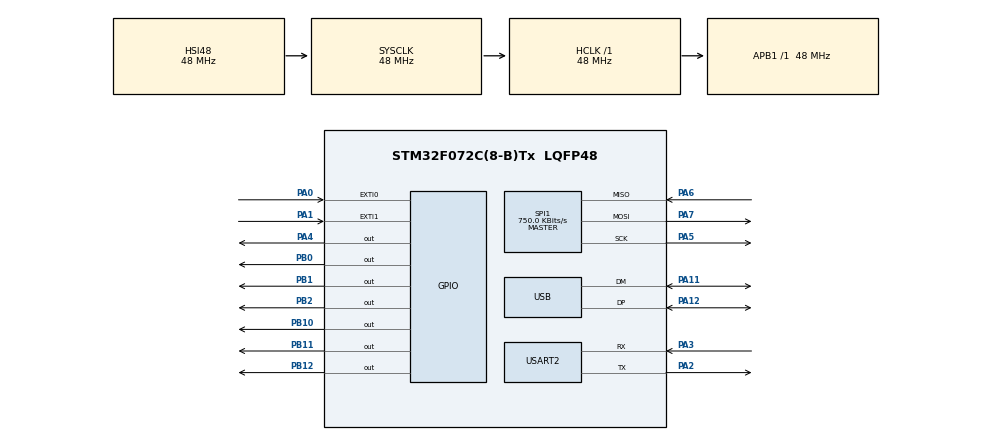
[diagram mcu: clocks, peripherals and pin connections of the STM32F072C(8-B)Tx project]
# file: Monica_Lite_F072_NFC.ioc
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AL94.I-CUBE-USBD-COMPOSITE.1.0.3.CompositeCcUSBJjCOMPOSITEJjCDCIiACM=true
AL94.I-CUBE-USBD-COMPOSITE.1.0.3.CompositeCcUSBJjCOMPOSITEJjCOMPOSITE=true
AL94.I-CUBE-USBD-COMPOSITE.1.0.3.CompositeCcUSBJjCOMPOSITEJjCore=true
AL94.I-CUBE-USBD-COMPOSITE.1.0.3.CompositeCcUSBJjCOMPOSITEJjHIDIiCUSTOM=true
AL94.I-CUBE-USBD-COMPOSITE.1.0.3._STM32F1_DEVICE=true
AL94.I-CUBE-USBD-COMPOSITE.1.0.3._USBD_USE_CDC_ACM=true
AL94.I-CUBE-USBD-COMPOSITE.1.0.3._USBD_USE_HID_CUSTOM=true
Mcu.Family=STM32F0
Mcu.Name=STM32F072C(8-B)Tx
Mcu.Package=LQFP48
NVIC.EXTI0_1_IRQn=true\:0\:0\:false\:false\:true\:true\:true\:true
NVIC.SPI1_IRQn=true\:0\:0\:false\:false\:true\:true\:true\:true
NVIC.TIM17_IRQn=true\:0\:0\:false\:false\:true\:true\:true\:true
NVIC.USB_IRQn=true\:0\:0\:false\:false\:true\:true\:true\:true
PA0.Signal=GPXTI0
PA1.GPIO_PuPd=GPIO_PULLDOWN
PA1.Signal=GPXTI1
PA11.Mode=Device
PA11.Signal=USB_DM
PA12.Mode=Device
PA12.Signal=USB_DP
PA2.Mode=Asynchronous
PA2.Signal=USART2_TX
PA3.Mode=Asynchronous
PA3.Signal=USART2_RX
PA4.Signal=GPIO_Output
PA5.Mode=Full_Duplex_Master
PA5.Signal=SPI1_SCK
PA6.Mode=Full_Duplex_Master
PA6.Signal=SPI1_MISO
PA7.Mode=Full_Duplex_Master
PA7.Signal=SPI1_MOSI
PB0.GPIO_PuPd=GPIO_PULLDOWN
PB0.Signal=GPIO_Output
PB1.GPIO_PuPd=GPIO_PULLDOWN
PB1.Signal=GPIO_Output
PB10.GPIO_PuPd=GPIO_PULLDOWN
PB10.Signal=GPIO_Output
PB11.GPIO_PuPd=GPIO_PULLDOWN
PB11.Signal=GPIO_Output
PB12.GPIO_PuPd=GPIO_PULLDOWN
PB12.Signal=GPIO_Output
PB2.GPIO_PuPd=GPIO_PULLDOWN
PB2.Signal=GPIO_Output
ProjectManager.HeapSize=0x200
ProjectManager.StackSize=0x400
ProjectManager.TargetToolchain=STM32CubeIDE
RCC.AHBFreq_Value=48000000
RCC.APB1Freq_Value=48000000
RCC.APB1TimFreq_Value=48000000
RCC.HCLKFreq_Value=48000000
RCC.SYSCLKFreq_VALUE=48000000
RCC.SYSCLKSource=RCC_SYSCLKSOURCE_HSI48
SPI1.BaudRatePrescaler=SPI_BAUDRATEPRESCALER_64
SPI1.CLKPhase=SPI_PHASE_2EDGE
SPI1.CalculateBaudRate=750.0 KBits/s
SPI1.DataSize=SPI_DATASIZE_8BIT
SPI1.Direction=SPI_DIRECTION_2LINES
SPI1.Mode=SPI_MODE_MASTER
SPI1.VirtualType=VM_MASTER
USART2.VirtualMode-Asynchronous=VM_ASYNC
VP_AL94.I-CUBE-USBD-COMPOSITE_VS_USBJjComposite_1.0.0_1.0.3.Mode=USBJjComposite
VP_TIM17_VS_ClockSourceINT.Mode=Enable_Timer
board=custom

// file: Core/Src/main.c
/* USER CODE BEGIN Header */
/**
  ******************************************************************************
  * @file           : main.c
  * @brief          : Main program body
  ******************************************************************************
  * @attention
  *
  * Copyright (c) 2025 STMicroelectronics.
  * All rights reserved.
  *
  * This software is licensed under terms that can be found in the LICENSE file
  * in the root directory of this software component.
  * If no LICENSE file comes with this software, it is provided AS-IS.
  *
  ******************************************************************************
  */
/* USER CODE END Header */
#include "main.h"
#include "spi.h"
#include "tim.h"
#include "usart.h"
#include "usb.h"
#include "gpio.h"

/* USER CODE BEGIN Includes */
#include "usbd_cdc_acm_if.h"
#include "usb_device.h"
#include "rfal_rf.h"
#include "Card_Reader.h"
#include "mode_manager.h"
#include "flash.h"
/* USER CODE END Includes */

/* USER CODE BEGIN PD */
#define FIRMWARE_VISION 0xf
/* USER CODE END PD */

/* USER CODE BEGIN PV */
extern USBD_HandleTypeDef hUsbDevice;
/* USER CODE END PV */

void SystemClock_Config(void);

int main(void)
{

  /* MCU Configuration--------------------------------------------------------*/

  /* Reset of all peripherals, Initializes the Flash interface and the Systick. */
  HAL_Init();

  /* Configure the system clock */
  SystemClock_Config();

  /* Initialize all configured peripherals */
  MX_GPIO_Init();
  MX_SPI1_Init();
  MX_USART2_UART_Init();
  MX_USB_PCD_Init();
  MX_TIM17_Init();
  /* USER CODE BEGIN 2 */
  MX_USB_DEVICE_Init();
  /* USER CODE END 2 */

  /* Infinite loop */
  /* USER CODE BEGIN WHILE */
  flash_read(Flash.raw_flash_byte);
  if((Flash.system_setting >> 4) != FIRMWARE_VISION){
	  memcpy(Flash.raw_flash_byte,default_setting,5);
  }
  LED_show(255,255,255);
  while (1)
  {
    /* USER CODE END WHILE */

    /* USER CODE BEGIN 3 */
	  spiInit(&hspi1);
	  while(!demoIni()){
		  HAL_Delay(1000);
		  const char tmp[] = "Initialization failed..\r\n";
		  CDC_Transmit(0, tmp, strlen(tmp));
	  }
	  Reader.Current_Interface = INTERFACE_NONE;
	  Reader.Current_Mode = MODE_IDLE;
	  HAL_Delay(500);
	  while(1){
		  Card_Poll();
		  Mode_Poll();
	  }
  }
  /* USER CODE END 3 */
}

void SystemClock_Config(void)
{
  RCC_OscInitTypeDef RCC_OscInitStruct = {0};
  RCC_ClkInitTypeDef RCC_ClkInitStruct = {0};
  RCC_PeriphCLKInitTypeDef PeriphClkInit = {0};

  /** Initializes the RCC Oscillators according to the specified parameters
  * in the RCC_OscInitTypeDef structure.
  */
  RCC_OscInitStruct.OscillatorType = RCC_OSCILLATORTYPE_HSI48;
  RCC_OscInitStruct.HSI48State = RCC_HSI48_ON;
  RCC_OscInitStruct.PLL.PLLState = RCC_PLL_NONE;
  if (HAL_RCC_OscConfig(&RCC_OscInitStruct) != HAL_OK)
  {
    Error_Handler();
  }

  /** Initializes the CPU, AHB and APB buses clocks
  */
  RCC_ClkInitStruct.ClockType = RCC_CLOCKTYPE_HCLK|RCC_CLOCKTYPE_SYSCLK
                              |RCC_CLOCKTYPE_PCLK1;
  RCC_ClkInitStruct.SYSCLKSource = RCC_SYSCLKSOURCE_HSI48;
  RCC_ClkInitStruct.AHBCLKDivider = RCC_SYSCLK_DIV1;
  RCC_ClkInitStruct.APB1CLKDivider = RCC_HCLK_DIV1;

  if (HAL_RCC_ClockConfig(&RCC_ClkInitStruct, FLASH_LATENCY_1) != HAL_OK)
  {
    Error_Handler();
  }
  PeriphClkInit.PeriphClockSelection = RCC_PERIPHCLK_USB|RCC_PERIPHCLK_USART2;
  PeriphClkInit.Usart2ClockSelection = RCC_USART2CLKSOURCE_PCLK1;
  PeriphClkInit.UsbClockSelection = RCC_USBCLKSOURCE_HSI48;

  if (HAL_RCCEx_PeriphCLKConfig(&PeriphClkInit) != HAL_OK)
  {
    Error_Handler();
  }
}

void Error_Handler(void)
{
  __disable_irq();
  while (1)
  {
  }
}
